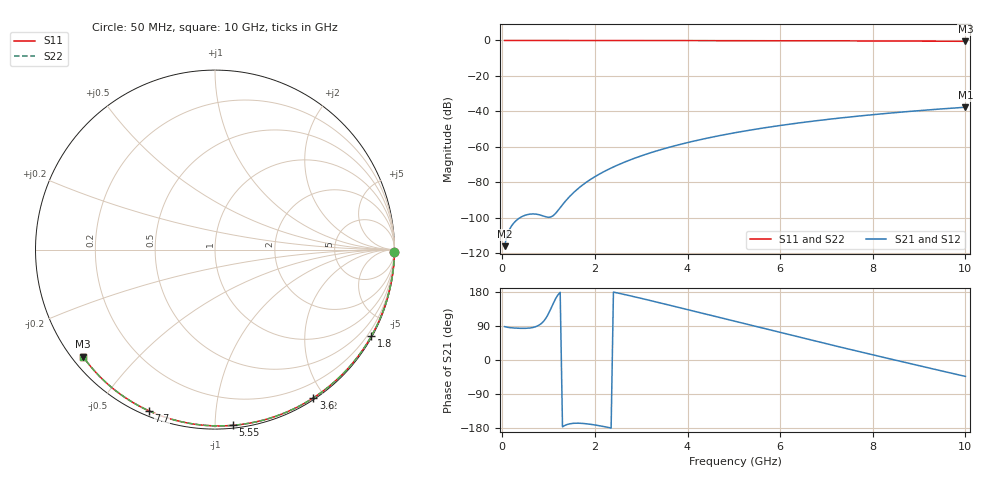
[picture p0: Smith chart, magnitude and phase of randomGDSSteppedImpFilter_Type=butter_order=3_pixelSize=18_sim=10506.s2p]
! freq	dB(S11)	phase(S11)	dB(S12)	phase(S12)
!  dB(S21)	phase(S21)	dB(S22)	phase(S22)
!S-par simulation data
#  GHz  S  DB  R 50
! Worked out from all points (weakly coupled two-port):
!   200 points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, 50 MHz to 10 GHz, reference 50 ohm
!   highest |S21| = -37.67 dB at 10 GHz (marker M1); lowest = -116.0 dB at 50 MHz (marker M2)
!   lowest |S11| = -0.5 dB at 10 GHz (marker M3), VSWR 36.42, Z = 1.55 - j17.7 ohm
!   |S11| at or under -10 dB: nowhere
!   |S22| runs from -0.5 to 0.0 dB; largest |S21 - S12| = 0
!   S11 on the Smith chart (normalised r, x): 50 MHz: open; 1.8 GHz: 0.03, -3.88; 3.6 GHz: 0.02, -1.86; 5.55 GHz: 0.02, -1.11; 7.7 GHz: 0.02, -0.67; 10 GHz: 0.03, -0.35
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0.05  -0.00 -0.8  -116.03 88.0  -116.03 88.0  -0.00 -0.8
0.45  -0.01 -7.3  -99.04 83.5  -99.04 83.5  -0.01 -7.3
0.9  -0.02 -14.6  -99.14 103.3  -99.14 103.3  -0.02 -14.6
1.3  -0.03 -21.0  -92.64 -176.3  -92.64 -176.3  -0.03 -21.0
1.75  -0.04 -28.1  -81.21 -167.5  -81.21 -167.5  -0.04 -28.1
1.8  -0.04 -28.9  -80.25 -168.1  -80.25 -168.1  -0.04 -28.9
2.15  -0.04 -34.4  -74.60 -174.6  -74.60 -174.6  -0.04 -34.4
2.35  -0.05 -37.5  -71.95 -179.5  -71.95 -179.5  -0.05 -37.5
2.55  -0.05 -40.6  -69.60 175.3  -69.60 175.3  -0.05 -40.6
2.95  -0.06 -46.7  -65.55 164.1  -65.55 164.1  -0.06 -46.7
3.4  -0.07 -53.4  -61.77 150.9  -61.77 150.9  -0.07 -53.4
3.6  -0.08 -56.4  -60.28 145.0  -60.28 145.0  -0.08 -56.4
3.9  -0.08 -60.8  -58.24 136.0  -58.24 136.0  -0.08 -60.8
4.3  -0.09 -66.6  -55.80 123.9  -55.80 123.9  -0.09 -66.6
5.05  -0.12 -77.2  -51.93 101.2  -51.93 101.2  -0.12 -77.2
5.55  -0.14 -84.1  -49.73 86.1  -49.73 86.1  -0.14 -84.1
6.1  -0.16 -91.5  -47.59 69.6  -47.59 69.6  -0.16 -91.5
6.7  -0.19 -99.5  -45.54 51.7  -45.54 51.7  -0.19 -99.5
7.7  -0.26 -112.3  -42.63 22.4  -42.63 22.4  -0.26 -112.3
8.35  -0.31 -120.5  -41.02 3.6  -41.02 3.6  -0.31 -120.5
9.2  -0.39 -131.0  -39.17 -20.7  -39.17 -20.7  -0.39 -131.0
10  -0.48 -140.9  -37.67 -43.3  -37.67 -43.3  -0.48 -140.9
